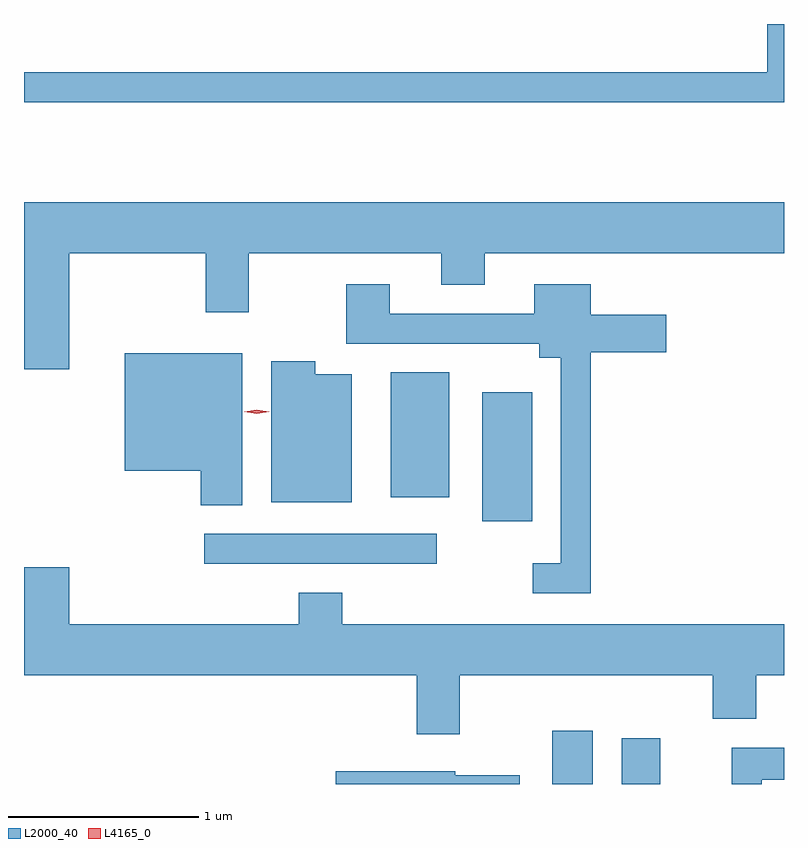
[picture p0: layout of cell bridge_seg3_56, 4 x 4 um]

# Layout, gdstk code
import gdstk
lib = gdstk.Library(unit=1e-6, precision=1e-09)
def R(c, l, rs):  # rectangles x0, y0, x1, y1
    for r in rs: c.add(gdstk.rectangle(r[:2], r[2:], *l))
def P(c, l, *ps):  # polygons
    for p in ps: c.add(gdstk.Polygon(p, *l))
L2000_40 = (2000, 40)
L4165_0 = (4165, 0)

bridge_seg3_56 = lib.new_cell('bridge_seg3_56')
R(bridge_seg3_56, L2000_40, [(1256.846,1240.883,1257.059,1241.164), (1257.211,1240.883,1257.414,1241.124), (1255.013,1242.041,1256.238,1242.199), (1256.476,1242.266,1256.739,1242.944), (1255.996,1242.391,1256.304,1243.049)])
P(bridge_seg3_56, L2000_40, [(1258.065,1244.883),(1257.976,1244.883),(1257.976,1244.629),(1254.065,1244.629),(1254.065,1244.471),(1258.065,1244.471)],
  [(1254.065,1243.066),(1254.304,1243.066),(1254.304,1243.676),(1255.021,1243.676),(1255.021,1243.366),(1255.249,1243.366),(1255.249,1243.676),(1256.261,1243.676),(1256.261,1243.511),(1256.489,1243.511),(1256.489,1243.676),(1258.065,1243.676),(1258.065,1243.944),(1254.065,1243.944)],
  [(1257.049,1243.156),(1257.444,1243.156),(1257.444,1243.354),(1257.049,1243.354),(1257.049,1243.514),(1256.751,1243.514),(1256.751,1243.359),(1255.989,1243.359),(1255.989,1243.514),(1255.761,1243.514),(1255.761,1243.201),(1256.776,1243.201),(1256.776,1243.126),(1256.891,1243.126),(1256.891,1242.044),(1256.743,1242.044),(1256.743,1241.886),(1257.049,1241.886)],
  [(1255.214,1243.149),(1254.596,1243.149),(1254.596,1242.531),(1254.996,1242.531),(1254.996,1242.351),(1255.214,1242.351)],
  [(1255.789,1243.039),(1255.599,1243.039),(1255.599,1243.109),(1255.366,1243.109),(1255.366,1242.366),(1255.789,1242.366)],
  [(1256.359,1241.456),(1257.691,1241.456),(1257.691,1241.226),(1257.919,1241.226),(1257.919,1241.456),(1258.065,1241.456),(1258.065,1241.724),(1255.739,1241.724),(1255.739,1241.889),(1255.511,1241.889),(1255.511,1241.724),(1254.304,1241.724),(1254.304,1242.024),(1254.065,1242.024),(1254.065,1241.456),(1256.131,1241.456),(1256.131,1241.146),(1256.359,1241.146)],
  [(1257.949,1240.906),(1258.065,1240.906),(1258.065,1241.074),(1257.791,1241.074),(1257.791,1240.883),(1257.949,1240.883)],
  [(1256.674,1240.929),(1256.334,1240.929),(1256.334,1240.949),(1255.706,1240.949),(1255.706,1240.883),(1256.674,1240.883)])
P(bridge_seg3_56, L4165_0, [(1255.29,1242.832),(1255.225,1242.842),(1255.224,1242.843),(1255.225,1242.843),(1255.291,1242.852),(1255.356,1242.842),(1255.357,1242.842),(1255.356,1242.841)])

lib.write_gds('bridge_seg3_56.gds')
